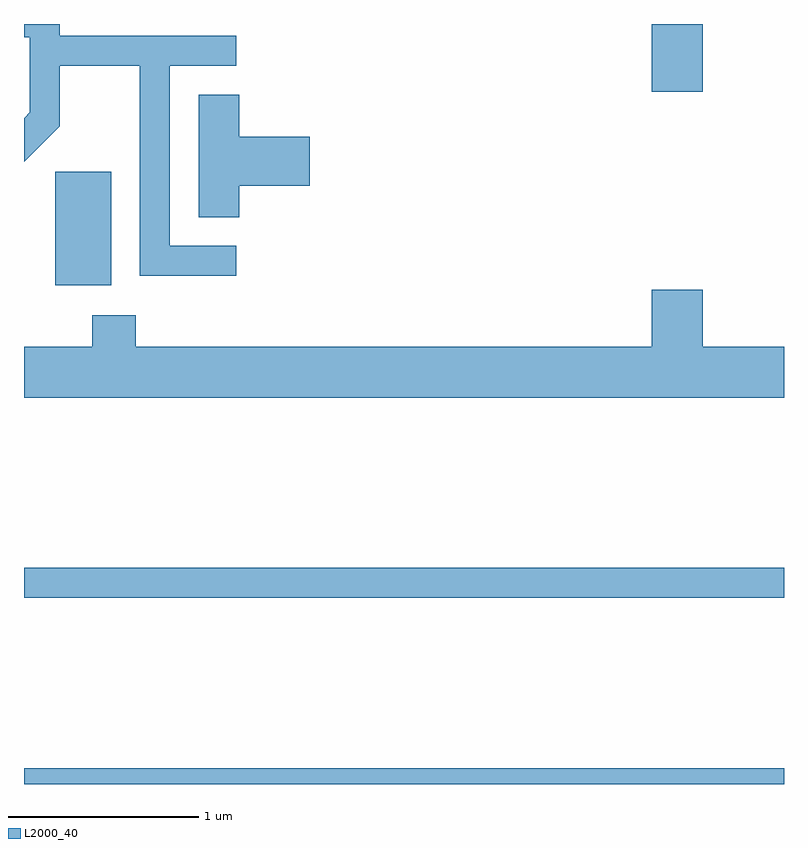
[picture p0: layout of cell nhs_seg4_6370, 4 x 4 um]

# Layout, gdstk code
import gdstk
lib = gdstk.Library(unit=1e-6, precision=1e-09)
def R(c, l, rs):  # rectangles x0, y0, x1, y1
    for r in rs: c.add(gdstk.rectangle(r[:2], r[2:], *l))
def P(c, l, *ps):  # polygons
    for p in ps: c.add(gdstk.Polygon(p, *l))
L2000_40 = (2000, 40)

nhs_seg4_6370 = lib.new_cell('nhs_seg4_6370')
R(nhs_seg4_6370, L2000_40, [(371.611,1345.982,375.611,1346.064), (371.611,1346.961,375.611,1347.119), (371.776,1348.606,372.069,1349.204), (374.916,1349.626,375.184,1349.982)])
P(nhs_seg4_6370, L2000_40, [(372.728,1348.814),(372.379,1348.814),(372.379,1349.761),(372.728,1349.761),(372.728,1349.919),(371.799,1349.919),(371.799,1349.982),(371.611,1349.982),(371.611,1349.911),(371.641,1349.911),(371.641,1349.517),(371.611,1349.487),(371.611,1349.256),(371.799,1349.444),(371.799,1349.761),(372.221,1349.761),(372.221,1348.656),(372.728,1348.656)],
  [(372.744,1349.131),(373.114,1349.131),(373.114,1349.389),(372.744,1349.389),(372.744,1349.609),(372.531,1349.609),(372.531,1348.966),(372.744,1348.966)],
  [(375.611,1348.284),(375.184,1348.284),(375.184,1348.584),(374.916,1348.584),(374.916,1348.284),(372.199,1348.284),(372.199,1348.449),(371.971,1348.449),(371.971,1348.284),(371.611,1348.284),(371.611,1348.016),(375.611,1348.016)])

lib.write_gds('nhs_seg4_6370.gds')
